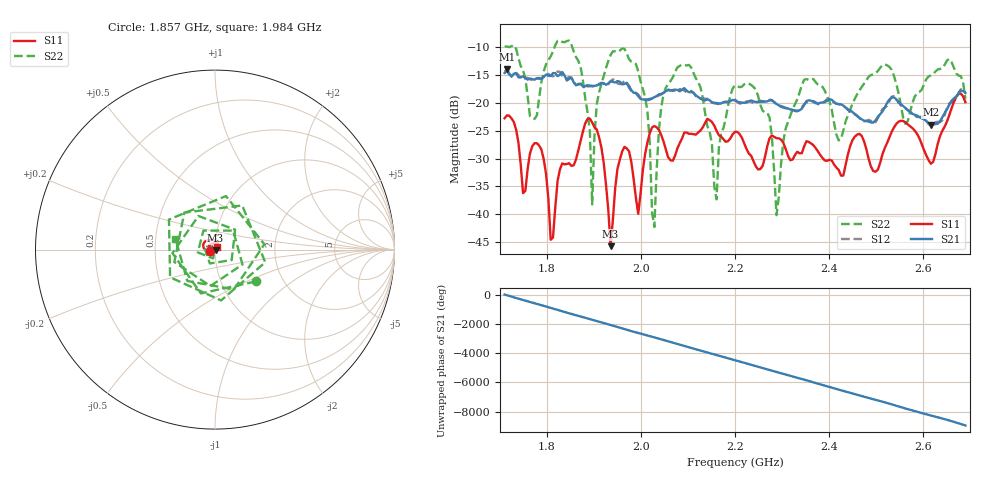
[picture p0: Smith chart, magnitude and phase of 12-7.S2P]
!Agilent Technologies,E5061B,MY49305579,A.02.22
!Date: Thu Aug 24 16:23:21 2017
!Data & Calibration Information:
!Freq	S11:SOLT2(ON)	S21:SOLT2(ON)	S12:SOLT2(ON)	S22:SOLT2(ON)
# Hz S dB R 50
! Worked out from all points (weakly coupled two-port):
!   201 points, 1.71 GHz to 2.69 GHz, reference 50 ohm
!   highest |S21| = -14.03 dB at 1.715 GHz (marker M1); lowest = -24.0 dB at 2.616 GHz (marker M2)
!   lowest |S11| = -45.7 dB at 1.935 GHz (marker M3), VSWR 1.01, Z = 50.3 - j0.393 ohm
!   |S11| at or under -10 dB: start of sweep to end of sweep
!   |S22| runs from -42.3 to -8.8 dB; largest |S21 - S12| = 0.02
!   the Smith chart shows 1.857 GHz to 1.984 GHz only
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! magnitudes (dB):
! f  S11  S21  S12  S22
! 1.71 GHz  -22.8  -14.7  -14.1  -10.0
! 1.715 GHz  -22.3  -14.0  -14.4  -9.9
! 1.774 GHz  -27.2  -15.9  -15.8  -22.9
! 1.808 GHz  -44.6  -15.2  -15.1  -11.7
! 1.877 GHz  -25.1  -17.1  -16.6  -16.0
! 1.896 GHz  -23.5  -17.0  -17.1  -38.2
! 1.906 GHz  -24.8  -16.9  -17.0  -20.3
! 1.935 GHz  -45.7  -16.2  -16.1  -11.4
! 1.96 GHz  -28.7  -16.7  -16.5  -10.3
! 2.009 GHz  -29.2  -19.4  -19.5  -19.0
! 2.029 GHz  -24.2  -19.0  -19.1  -42.3
! 2.038 GHz  -24.9  -18.5  -18.7  -24.8
! 2.107 GHz  -25.6  -18.1  -17.9  -13.7
! 2.161 GHz  -25.0  -20.0  -20.2  -37.3
! 2.2 GHz  -25.2  -19.6  -19.4  -16.9
! 2.273 GHz  -26.4  -19.6  -19.4  -22.7
! 2.288 GHz  -26.3  -20.2  -20.3  -40.2
! 2.367 GHz  -27.6  -19.8  -19.7  -15.8
! 2.421 GHz  -32.0  -20.3  -20.2  -26.7
! 2.528 GHz  -26.2  -19.4  -19.7  -13.6
! 2.616 GHz  -30.9  -24.0  -24.1  -15.1
! 2.69 GHz  -19.9  -18.2  -18.2  -19.3
